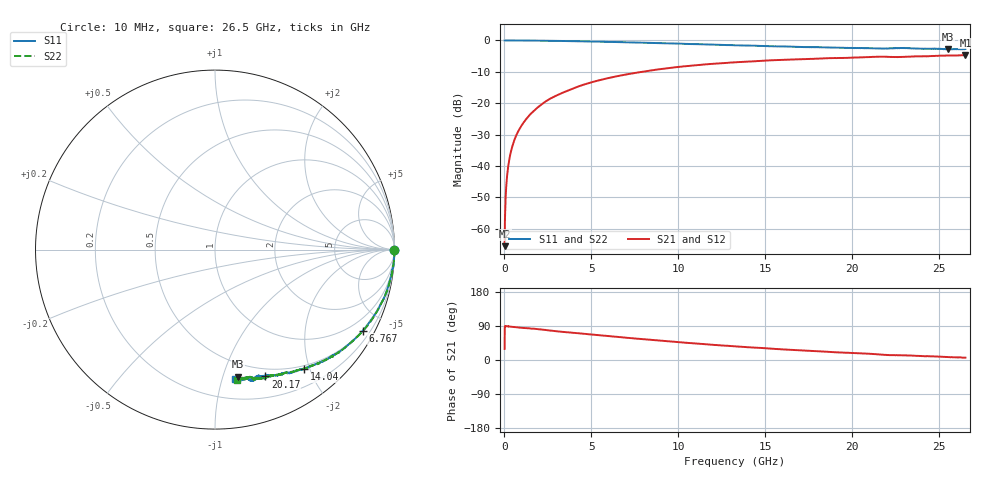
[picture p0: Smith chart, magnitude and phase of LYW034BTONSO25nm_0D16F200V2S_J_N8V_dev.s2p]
!Keysight Technologies,N5222B,MY61253708,A.15.00.15
!Date: Wednesday, June 19, 2024 08:41:13
!Correction: S11(C  2-Port  )
!S21(C  2-Port  )
!S12(C  2-Port  )
!S22(C  2-Port  )
!S2P File: Measurements: S11, S21, S12, S22:
# Hz S  RI  R 50
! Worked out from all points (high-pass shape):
!   2651 points, 10 MHz to 26.5 GHz, reference 50 ohm
!   highest |S21| = -4.66 dB at 26.5 GHz (marker M1); lowest = -65.5 dB at 10 MHz (marker M2)
!   |S21| within 3 dB of the highest: 11.46 GHz to end of sweep
!   lowest |S11| = -2.9 dB at 25.5 GHz (marker M3), VSWR 6.14, Z = 19 - j56.1 ohm
!   |S11| at or under -10 dB: nowhere
!   |S22| runs from -2.7 to 0.0 dB; largest |S21 - S12| = 0.0096
!   S11 on the Smith chart (normalised r, x): 10 MHz: open; 6.767 GHz: 0.50, -3.83; 14.04 GHz: 0.45, -1.91; 20.17 GHz: 0.41, -1.39; 26.5 GHz: 0.35, -1.10
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1e7  0.9989 -0.00209  0.000462 0.000258  -0.000124 0.000222  0.9987 -0.00116
7.997358e7  0.9998 -0.00661  2.23e-05 0.00367  5.42e-05 0.00361  0.9993 -0.00621
1.499472e8  0.9997 -0.0129  0.00012 0.00686  0.000109 0.00679  0.9993 -0.0122
1.899321e8  0.9998 -0.0153  0.000167 0.00868  0.000178 0.00858  0.9996 -0.0145
2.399132e8  0.9991 -0.0199  0.000278 0.0109  0.000271 0.0108  0.9989 -0.0189
3.398755e8  0.9987 -0.0276  0.00054 0.0155  0.000523 0.0153  0.9989 -0.0264
4.698264e8  0.9983 -0.0385  0.00097 0.0213  0.000916 0.0211  0.998 -0.037
8.096981e8  0.9965 -0.065  0.00277 0.0364  0.00264 0.0361  0.9962 -0.0633
1.429464e9  0.986 -0.1146  0.00707 0.0636  0.00693 0.0632  0.9893 -0.1105
2.28914e9  0.9734 -0.1765  0.0182 0.1013  0.018 0.1009  0.9754 -0.1757
3.118826e9  0.9549 -0.2364  0.0353 0.1331  0.0349 0.1326  0.9558 -0.2343
4.428332e9  0.9136 -0.3232  0.0658 0.181  0.0651 0.1807  0.9166 -0.3191
6.767449e9  0.8222 -0.4531  0.1411 0.2412  0.1409 0.2409  0.8259 -0.4518
8.846664e9  0.7278 -0.542  0.2149 0.2711  0.2146 0.2712  0.7319 -0.5394
1.3255e10  0.5287 -0.6508  0.3628 0.264  0.3634 0.2639  0.5344 -0.6498
1.40447e10  0.4952 -0.6658  0.3848 0.256  0.3843 0.2559  0.5021 -0.6594
1.767333e10  0.355 -0.6969  0.4654 0.2057  0.4673 0.2046  0.3684 -0.6963
2.017239e10  0.2805 -0.7069  0.5069 0.1664  0.5081 0.1645  0.2957 -0.7088
2.209166e10  0.2332 -0.7063  0.5334 0.1233  0.5337 0.1217  0.2292 -0.7145
2.308129e10  0.2044 -0.732  0.5369 0.1159  0.5365 0.1168  0.2074 -0.7151
2.550038e10  0.127 -0.7088  0.5693 0.0755  0.5701 0.0773  0.1478 -0.717
2.65e10  0.1111 -0.7225  0.5813 0.0631  0.5791 0.0611  0.1237 -0.7251
